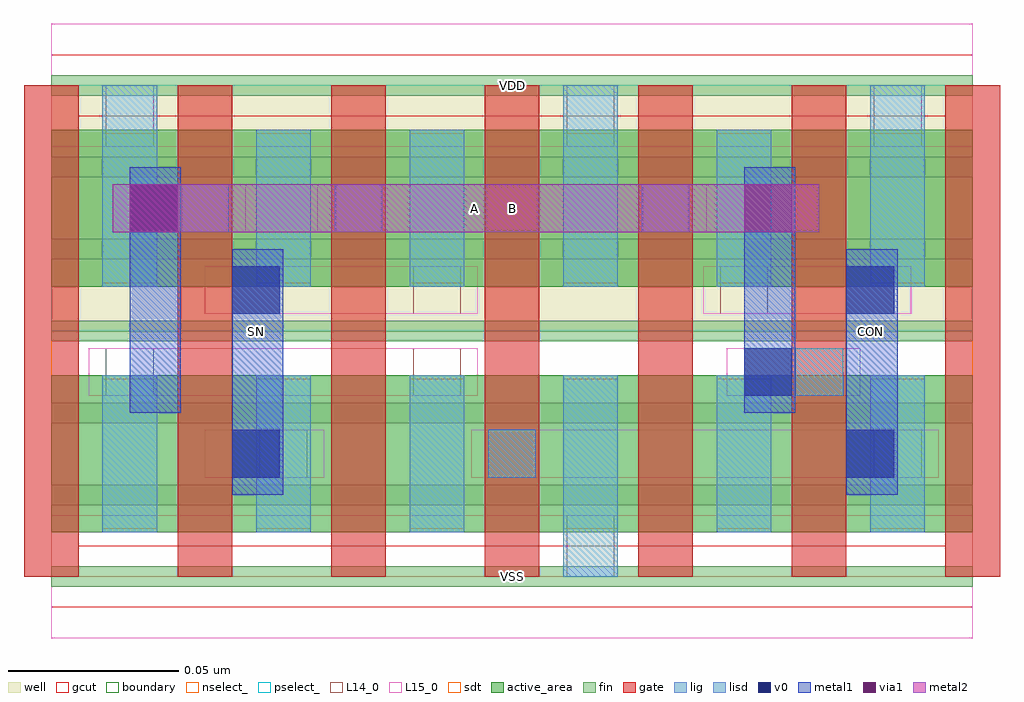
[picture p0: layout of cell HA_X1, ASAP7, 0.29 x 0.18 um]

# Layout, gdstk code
import gdstk
lib = gdstk.Library(unit=1e-6, precision=1e-09)
def R(c, l, rs):  # rectangles x0, y0, x1, y1
    for r in rs: c.add(gdstk.rectangle(r[:2], r[2:], *l))
def A(c, l, x, y, w, h, nx, ny, dx, dy):  # array of equal rectangles
    R(c, l, [(x+i*dx, y+j*dy, x+i*dx+w, y+j*dy+h) for i in range(nx) for j in range(ny)])
def P(c, l, *ps):  # polygons
    for p in ps: c.add(gdstk.Polygon(p, *l))
well = (1, 0)
fin = (2, 0)
gate = (7, 0)
gcut = (10, 0)
active_area = (11, 0)
nselect_ = (12, 0)
pselect_ = (13, 0)
L14_0 = (14, 0)
L15_0 = (15, 0)
lig = (16, 0)
lisd = (17, 0)
v0 = (18, 0)
metal1 = (19, 0)
metal2 = (20, 0)
via1 = (21, 0)
sdt = (88, 0)
boundary = (100, 0)

ha_x1 = lib.new_cell('HA_X1')
R(ha_x1, well, [(0,0.072,0.27,0.144)])
A(ha_x1, fin, 0, -0.003, 0.27, 0.006, 1, 7, 0, 0.024)
A(ha_x1, gate, -0.008, 0, 0.016, 0.144, 7, 1, 0.045, 0)
P(ha_x1, gcut, [(0,-0.009),(0,0),(-0.008,0),(-0.008,0.135),(0.008,0.135),(0.008,0.009),(0.262,0.009),(0.262,0.135),(-0.008,0.135),(-0.008,0.144),(0,0.144),(0,0.153),(0.27,0.153),(0.27,0.144),(0.278,0.144),(0.278,0),(0.27,0),(0.27,-0.009)])
R(ha_x1, active_area, [(0,0.013,0.27,0.059), (0,0.085,0.27,0.131)])
R(ha_x1, nselect_, [(0,0,0.27,0.072)])
R(ha_x1, pselect_, [(0,0.072,0.27,0.144)])
R(ha_x1, L14_0, [(0.151,0,0.165,0.018), (0.061,0.029,0.075,0.043), (0.128,0.029,0.142,0.043), (0.241,0.029,0.255,0.043), (0.016,0.053,0.03,0.067), (0.106,0.053,0.12,0.067), (0.218,0.053,0.232,0.067), (0.106,0.077,0.12,0.091), (0.196,0.077,0.21,0.091), (0.038,0.101,0.052,0.115), (0.083,0.101,0.097,0.115), (0.173,0.101,0.187,0.115), (0.016,0.126,0.03,0.144), (0.151,0.126,0.165,0.144), (0.241,0.126,0.255,0.144)])
R(ha_x1, L15_0, [(0,-0.018,0.27,0.018), (0.045,0.029,0.08,0.043), (0.123,0.029,0.26,0.043), (0.011,0.053,0.125,0.067), (0.198,0.053,0.237,0.067), (0.045,0.077,0.125,0.091), (0.191,0.077,0.252,0.091), (0.018,0.101,0.057,0.115), (0.078,0.101,0.192,0.115), (0,0.126,0.27,0.162)])
R(ha_x1, lig, [(0.128,0.029,0.142,0.043), (0.218,0.053,0.232,0.067), (0.038,0.101,0.052,0.115), (0.083,0.101,0.097,0.115), (0.173,0.101,0.187,0.115)])
A(ha_x1, lisd, 0.015, 0.013, 0.016, 0.046, 3, 1, 0.045, 0)
R(ha_x1, lisd, [(0.15,0,0.166,0.059), (0.195,0.013,0.211,0.059), (0.24,0.013,0.256,0.059), (0.015,0.085,0.031,0.144), (0.06,0.085,0.076,0.131), (0.105,0.085,0.121,0.131), (0.15,0.085,0.166,0.144), (0.195,0.085,0.211,0.131), (0.24,0.085,0.256,0.144)])
R(ha_x1, v0, [(0.053,0.029,0.067,0.043), (0.233,0.029,0.247,0.043), (0.203,0.053,0.217,0.067), (0.053,0.077,0.067,0.091), (0.233,0.077,0.247,0.091), (0.023,0.101,0.037,0.115)])
R(ha_x1, metal1, [(0.053,0.024,0.068,0.096), (0.233,0.024,0.248,0.096), (0.023,0.048,0.038,0.12), (0.203,0.048,0.218,0.12)])
R(ha_x1, metal2, [(0.018,0.101,0.225,0.115)])
R(ha_x1, via1, [(0.023,0.101,0.037,0.115), (0.203,0.101,0.217,0.115)])
A(ha_x1, sdt, 0.015, 0.014, 0.016, 0.044, 6, 2, 0.045, 0.072)
R(ha_x1, boundary, [(0,0,0.27,0.144)])
ha_x1.add(gdstk.Label('B', (0.135,0.108), layer=15, texttype=251))
ha_x1.add(gdstk.Label('VSS', (0.135,0), layer=15, texttype=251))
ha_x1.add(gdstk.Label('VDD', (0.135,0.144), layer=15, texttype=251))
ha_x1.add(gdstk.Label('VSS', (0.135,0), layer=15, texttype=251))
ha_x1.add(gdstk.Label('VDD', (0.135,0.144), layer=15, texttype=251))
ha_x1.add(gdstk.Label('VSS', (0.135,0), layer=15, texttype=251))
ha_x1.add(gdstk.Label('VDD', (0.135,0.144), layer=15, texttype=251))
ha_x1.add(gdstk.Label('VSS', (0.135,0), layer=15, texttype=251))
ha_x1.add(gdstk.Label('VDD', (0.135,0.144), layer=15, texttype=251))
ha_x1.add(gdstk.Label('VSS', (0.135,0), layer=3, texttype=251))
ha_x1.add(gdstk.Label('VSS', (0.135,0), layer=3, texttype=251))
ha_x1.add(gdstk.Label('VSS', (0.135,0), layer=3, texttype=251))
ha_x1.add(gdstk.Label('VSS', (0.135,0), layer=3, texttype=251))
ha_x1.add(gdstk.Label('VDD', (0.135,0.144), layer=1, texttype=251))
ha_x1.add(gdstk.Label('VDD', (0.135,0.144), layer=1, texttype=251))
ha_x1.add(gdstk.Label('VDD', (0.135,0.144), layer=1, texttype=251))
ha_x1.add(gdstk.Label('VDD', (0.135,0.144), layer=1, texttype=251))
ha_x1.add(gdstk.Label('A', (0.124,0.108), layer=20, texttype=251))
ha_x1.add(gdstk.Label('SN', (0.06,0.072), layer=19, texttype=251))
ha_x1.add(gdstk.Label('CON', (0.24,0.072), layer=19, texttype=251))

lib.write_gds('HA_X1.gds')
